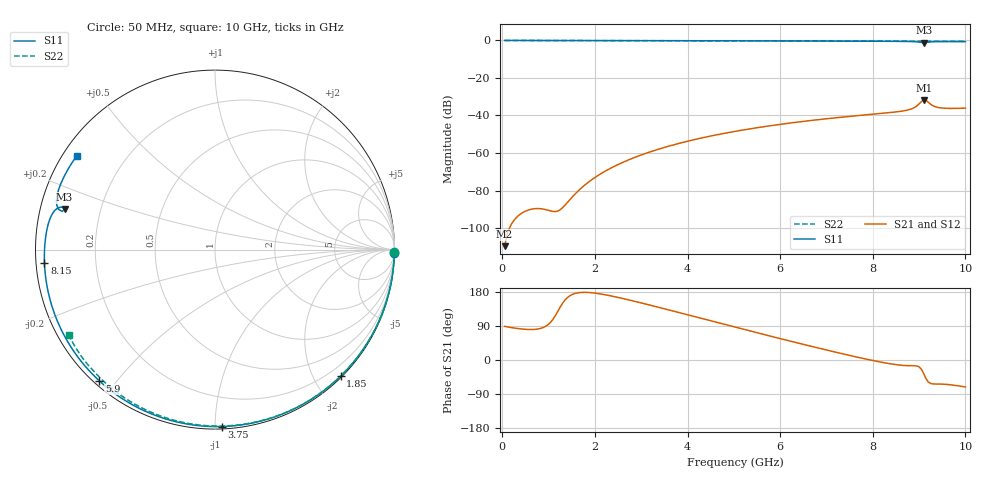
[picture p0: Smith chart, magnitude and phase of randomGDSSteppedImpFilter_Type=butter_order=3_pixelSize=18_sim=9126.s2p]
! freq	dB(S11)	phase(S11)	dB(S12)	phase(S12)
!  dB(S21)	phase(S21)	dB(S22)	phase(S22)
!S-par simulation data
#  GHz  S  DB  R 50
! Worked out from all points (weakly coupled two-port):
!   200 points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, 50 MHz to 10 GHz, reference 50 ohm
!   highest |S21| = -31.71 dB at 9.1 GHz (marker M1); lowest = -109.7 dB at 50 MHz (marker M2)
!   lowest |S11| = -1.2 dB at 9.1 GHz (marker M3), VSWR 14.15, Z = 3.59 + j6.55 ohm
!   |S11| at or under -10 dB: nowhere
!   |S22| runs from -0.5 to 0.0 dB; largest |S21 - S12| = 0
!   S11 on the Smith chart (normalised r, x): 50 MHz: 1, -94; 1.85 GHz: 0.02, -2.40; 3.75 GHz: 0.01, -1.04; 5.9 GHz: 0.02, -0.45; 8.15 GHz: 0.02, -0.04; 10 GHz: 0.04, +0.31
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0.05  -0.00 -1.2  -109.67 88.8  -109.67 88.8  -0.00 -0.9
0.8  -0.03 -19.8  -89.65 82.5  -89.65 82.5  -0.02 -13.8
1.6  -0.05 -39.2  -81.13 176.5  -81.13 176.5  -0.03 -27.4
1.65  -0.05 -40.4  -79.93 177.6  -79.93 177.6  -0.04 -28.3
1.75  -0.05 -42.8  -77.72 178.5  -77.72 178.5  -0.04 -30.0
1.85  -0.06 -45.2  -75.72 178.3  -75.72 178.3  -0.04 -31.6
2.15  -0.07 -52.2  -70.72 173.7  -70.72 173.7  -0.05 -36.6
2.5  -0.08 -60.2  -66.15 165.1  -66.15 165.1  -0.05 -42.4
3.4  -0.10 -80.3  -57.77 138.3  -57.77 138.3  -0.08 -56.9
3.75  -0.12 -87.8  -55.30 127.2  -55.30 127.2  -0.08 -62.4
5.05  -0.17 -114.6  -48.36 86.0  -48.36 86.0  -0.13 -82.0
5.9  -0.22 -131.3  -45.07 59.5  -45.07 59.5  -0.16 -94.3
6.7  -0.28 -146.9  -42.56 35.3  -42.56 35.3  -0.20 -105.5
7.45  -0.34 -161.6  -40.61 13.5  -40.61 13.5  -0.25 -115.7
8.15  -0.42 -175.7  -38.99 -5.0  -38.99 -5.0  -0.31 -125.1
8.35  -0.45 -179.8  -38.52 -9.4  -38.52 -9.4  -0.33 -127.8
8.85  -0.60 168.9  -36.34 -15.0  -36.34 -15.0  -0.38 -134.4
9  -0.86 165.1  -33.85 -18.0  -33.85 -18.0  -0.40 -136.3
9.1  -1.23 165.0  -31.71 -35.9  -31.71 -35.9  -0.40 -137.6
9.2  -0.92 165.6  -32.98 -58.1  -32.98 -58.1  -0.40 -138.9
9.4  -0.62 160.3  -35.69 -63.5  -35.69 -63.5  -0.42 -141.6
10  -0.62 145.9  -36.09 -71.3  -36.09 -71.3  -0.50 -149.6
